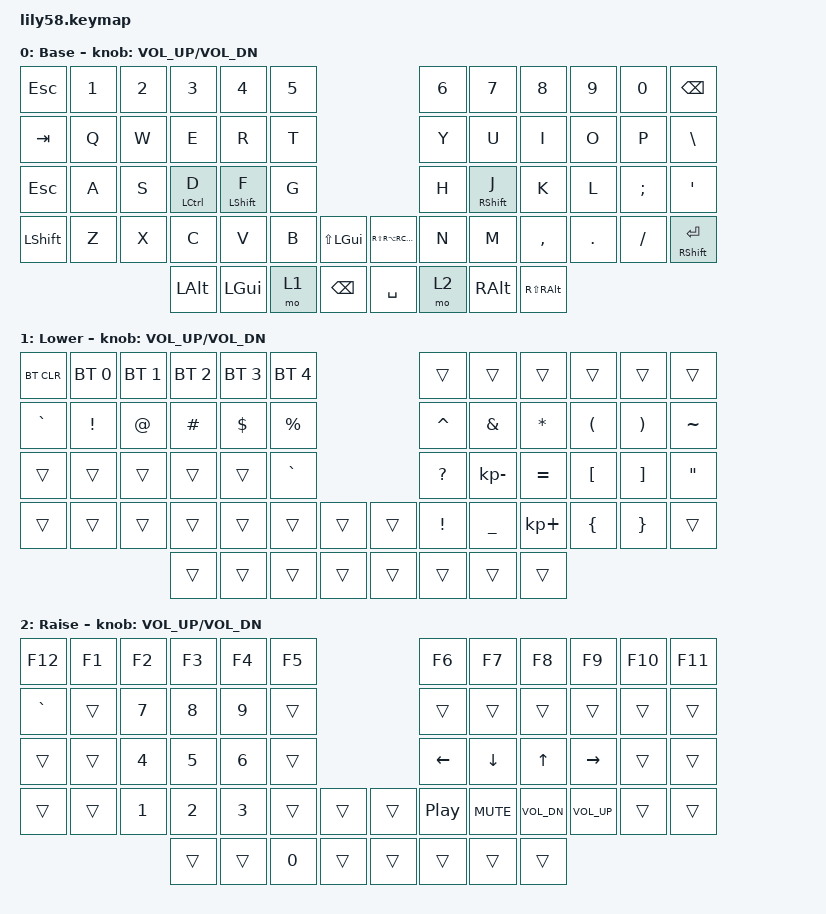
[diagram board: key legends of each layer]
/*
 * Copyright (c) 2020 The ZMK Contributors
 *
 * SPDX-License-Identifier: MIT
 */

#include <behaviors.dtsi>
#include <dt-bindings/zmk/bt.h>
#include <dt-bindings/zmk/keys.h>

/ {
    behaviors {
        HML: HML {
            compatible = "zmk,behavior-hold-tap";
            label = "HML";
            bindings = <&kp>, <&kp>;

            #binding-cells = <2>;
            tapping-term-ms = <200>;
            quick-tap-ms = <175>;
            flavor = "tap-unless-interrupted";
            hold-trigger-key-positions = <6 7 8 9 10 11 18 19 20 21 22 23 30 31 32 33 34 35 44 45 46 47 48 49 55 56 57 43 54 53 50 51 52>;
            require-prior-idle-ms = <100>;
        };

        SFENT: SFENT {
            compatible = "zmk,behavior-hold-tap";
            label = "SFENT";
            bindings = <&kp>, <&kp>;

            #binding-cells = <2>;
            tapping-term-ms = <200>;
        };

        HMR: HMR {
            compatible = "zmk,behavior-hold-tap";
            label = "HMR";
            bindings = <&kp>, <&kp>;

            #binding-cells = <2>;
            tapping-term-ms = <200>;
            quick-tap-ms = <175>;
            flavor = "tap-unless-interrupted";
            hold-trigger-key-positions = <54 55 56 57 0 1 2 3 4 5 12 13 14 15 16 17 24 25 26 27 28 29 36 37 38 39 40 41 42 50 51 52 53>;
            require-prior-idle-ms = <100>;
        };

        BKSP_RAISE: BKSP_RAISE {
            compatible = "zmk,behavior-hold-tap";
            label = "BKSP_RAISE";
            bindings = <&mo>, <&kp>;

            #binding-cells = <2>;
            tapping-term-ms = <200>;
            quick-tap-ms = <175>;
            flavor = "hold-preferred";
            require-prior-idle-ms = <100>;
        };

        HML_B: HML_B {
            compatible = "zmk,behavior-hold-tap";
            label = "HML_B";
            bindings = <&kp>, <&kp>;

            #binding-cells = <2>;
            tapping-term-ms = <200>;
            quick-tap-ms = <175>;
            flavor = "balanced";
            hold-trigger-key-positions = <6 7 8 9 10 11 18 19 20 21 22 23 30 31 32 33 34 35 44 45 46 47 48 49 55 56 57 43 54 53 50 51 52>;
            hold-trigger-on-release;
            require-prior-idle-ms = <100>;
        };
    };

    combos {
        compatible = "zmk,combos";

        combo_esc {
            bindings = <&kp ESC>;
            key-positions = <13 14>;
        };

        caps_word {
            bindings = <&caps_word>;
            key-positions = <54 53>;
        };

        dw {
            bindings = <&kp LA(BACKSPACE)>;
            key-positions = <27 14>;
        };
    };

    keymap {
        compatible = "zmk,keymap";

        default_layer {
            // ------------------------------------------------------------------------------------------------------------
            // |  ESC  |  1  |  2  |  3   |  4   |  5   |                   |  6   |  7    |  8    |  9   |   0   |   `   |
            // |  TAB  |  Q  |  W  |  E   |  R   |  T   |                   |  Y   |  U    |  I    |  O   |   P   |   -   |
            // |  CTRL |  A  |  S  |  D   |  F   |  G   |                   |  H   |  J    |  K    |  L   |   ;   |   '   |
            // | SHIFT |  Z  |  X  |  C   |  V   |  B   |   "["  |  |  "]"  |  N   |  M    |  ,    |  .   |   /   | SHIFT |
            //                     | ALT  | GUI  | LOWER|  SPACE |  | ENTER | RAISE| BSPC  | GUI   |

            display-name = "Base";
            bindings = <
&kp ESC    &kp N1  &kp N2  &kp N3                 &kp N4             &kp N5                                                 &kp N6  &kp N7              &kp N8        &kp N9   &kp N0         &kp BSPC
&kp TAB    &kp Q   &kp W   &kp E                  &kp R              &kp T                                                  &kp Y   &kp U               &kp I         &kp O    &kp P          &kp BSLH
&kp ESC    &kp A   &kp S   &HML_B LEFT_CONTROL D  &HML LEFT_SHIFT F  &kp G                                                  &kp H   &HMR RIGHT_SHIFT J  &kp K         &kp L    &kp SEMICOLON  &kp SQT
&kp LSHFT  &kp Z   &kp X   &kp C                  &kp V              &kp B   &kp LS(LEFT_GUI)    &kp RS(RA(RC(RIGHT_GUI)))  &kp N   &kp M               &kp COMMA     &kp DOT  &kp FSLH       &SFENT RIGHT_SHIFT ENTER
                           &kp LALT               &kp LGUI           &mo 1   &kp BACKSPACE       &kp SPACE                  &mo 2   &kp RIGHT_ALT       &kp RS(RALT)
            >;

            sensor-bindings = <&inc_dec_kp C_VOL_UP C_VOL_DN>;
        };

        lower_layer {
            // ------------------------------------------------------------------------------------------------------------
            // | BTCLR | BT1 | BT2 |  BT3 |  BT4 |  BT5 |                   |      |       |       |      |       |       |
            // |  F1   |  F2 |  F3 |  F4  |  F5  |  F6  |                   |  F7  |  F8   |  F9   |  F10 |  F11  |  F12  |
            // |   `   |  !  |  @  |  #   |  $   |  %   |                   |  ^   |  &    |  *    |  (   |   )   |   ~   |
            // |       |     |     |      |      |      |        |  |       |      |  _    |  +    |  {   |   }   |  "|"  |
            //                     |      |      |      |        |  |       |      |       |       |

            display-name = "Lower";
            bindings = <
&bt BT_CLR  &bt BT_SEL 0  &bt BT_SEL 1  &bt BT_SEL 2  &bt BT_SEL 3  &bt BT_SEL 4                    &trans           &trans          &trans        &trans    &trans    &trans
&kp GRAVE   &kp EXCL      &kp AT        &kp HASH      &kp DOLLAR    &kp PRCNT                       &kp CARET        &kp AMPS        &kp ASTERISK  &kp LPAR  &kp RPAR  &kp TILDE
&trans      &trans        &trans        &trans        &trans        &kp GRAVE                       &kp QMARK        &kp KP_MINUS    &kp EQUAL     &kp LBKT  &kp RBKT  &kp DQT
&trans      &trans        &trans        &trans        &trans        &trans        &trans    &trans  &kp EXCLAMATION  &kp UNDERSCORE  &kp KP_PLUS   &kp LBRC  &kp RBRC  &trans
                                        &trans        &trans        &trans        &trans    &trans  &trans           &trans          &trans
            >;

            sensor-bindings = <&inc_dec_kp C_VOL_UP C_VOL_DN>;
        };

        raise_layer {
            // ------------------------------------------------------------------------------------------------------------
            // |       |     |     |      |      |      |                   |      |       |       |      |       |       |
            // |   `   |  1  |  2  |  3   |  4   |  5   |                   |  6   |   7   |   8   |  9   |   0   |       |
            // |   F1  |  F2 |  F3 |  F4  |  F5  |  F6  |                   |      |   <-  |   v   |  ^   |  ->   |       |
            // |   F7  |  F8 |  F9 |  F10 |  F11 |  F12 |        |  |       |  +   |   -   |   =   |  [   |   ]   |   \   |
            //                     |      |      |      |        |  |       |      |       |       |

            display-name = "Raise";
            bindings = <
&kp F12    &kp F1  &kp F2        &kp F3        &kp F4        &kp F5                    &kp F6            &kp F7      &kp F8        &kp F9        &kp F10  &kp F11
&kp GRAVE  &trans  &kp N7        &kp N8        &kp N9        &trans                    &trans            &trans      &trans        &trans        &trans   &trans
&trans     &trans  &kp NUMBER_4  &kp N5        &kp NUMBER_6  &trans                    &kp LEFT          &kp DOWN    &kp UP        &kp RIGHT     &trans   &trans
&trans     &trans  &kp NUMBER_1  &kp NUMBER_2  &kp NUMBER_3  &trans  &trans    &trans  &kp C_PLAY_PAUSE  &kp K_MUTE  &kp C_VOL_DN  &kp C_VOL_UP  &trans   &trans
                                 &trans        &trans        &kp N0  &trans    &trans  &trans            &trans      &trans
            >;

            sensor-bindings = <&inc_dec_kp C_VOL_UP C_VOL_DN>;
        };
    };
};
